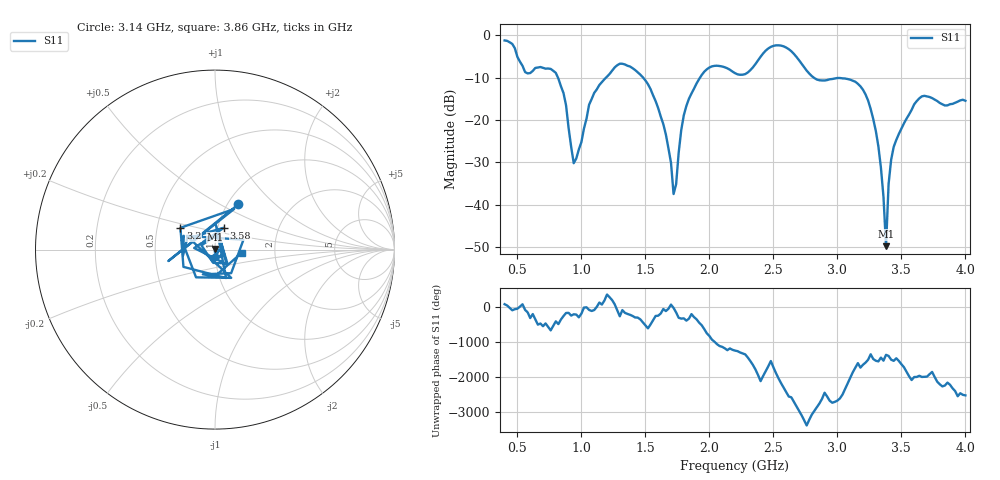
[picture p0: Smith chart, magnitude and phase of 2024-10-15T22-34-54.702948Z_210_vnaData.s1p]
! Created with skrf (http://scikit-rf.org).
# Hz S RI R 50.0
!freq ReS11 ImS11
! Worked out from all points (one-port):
!   181 points, 400 MHz to 4 GHz, reference 50 ohm
!   lowest |S11| = -49.7 dB at 3.38 GHz (marker M1), VSWR 1.01, Z = 50.1 + j0.311 ohm
!   |S11| at or under -10 dB: 816.9 MHz to 1.192 GHz (375 MHz wide, 37.3 % of centre); 1.483 GHz to 1.927 GHz (444 MHz wide, 26 % of centre); 2.816 GHz to end of sweep
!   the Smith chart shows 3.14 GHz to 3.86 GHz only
!   S11 on the Smith chart (normalised r, x): 3.14 GHz: 1.12, +0.61; 3.2 GHz: 0.66, +0.17; 3.58 GHz: 1.07, +0.27; 3.86 GHz: 1.35, -0.05
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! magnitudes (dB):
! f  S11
! 400 MHz  -1.2
! 560 MHz  -8.7
! 860 MHz  -13.6
! 940 MHz  -30.2
! 1.1 GHz  -13.6
! 1.3 GHz  -6.7
! 1.58 GHz  -15.5
! 1.66 GHz  -23.4
! 1.72 GHz  -37.4
! 1.76 GHz  -27.7
! 1.82 GHz  -16.7
! 1.94 GHz  -9.4
! 2.2 GHz  -8.9
! 2.5 GHz  -2.5
! 2.66 GHz  -4.4
! 2.84 GHz  -10.4
! 3.1 GHz  -10.5
! 3.14 GHz  -11.0
! 3.2 GHz  -12.9
! 3.32 GHz  -26.2
! 3.36 GHz  -38.1
! 3.38 GHz  -49.7
! 3.4 GHz  -35.1
! 3.42 GHz  -29.3
! 3.56 GHz  -18.7
! 3.58 GHz  -17.6
! 3.86 GHz  -16.5
! 4 GHz  -15.4
